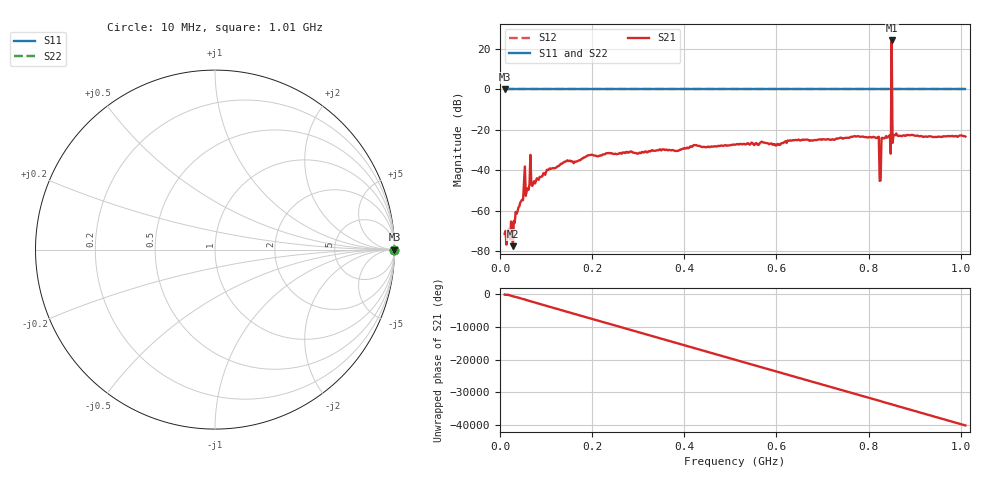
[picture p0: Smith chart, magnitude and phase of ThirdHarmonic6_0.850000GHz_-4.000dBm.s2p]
! 8/16/2025 4:08:01 AM
! C:\ANRITSUVNA\TEMP\TEMP.S2P
! CHANNEL.1
! TR.MEASUREMENT
! RAW.DATA
! RF.CORRECTION.OFF
! AVERAGING.OFF
! IF.BANDWIDTH: 5KHZ
! SWEEPTYPE:  FREQ.SWEEP(Linear)
! Reference Plane Port Info
! PORT:  PORT1  PORT2
! DISTANCE:  0  m  0  m
! TIME:  0  s  0  s
! PHASE.OFFSET:  0  deg.  0  deg.
! LOSS:  0  dB  0  dB
! REF.LOSS:  0  dB  0  dB
! REF.FREQ:  0  Hz  0  Hz
! Power Info
! POWER:  -20  dBm  -20  dBm
! EFF.POWER:  -20  dBm  -20  dBm
! SOURCE.ATTEN:  0  dB  0  dB
! TEST.ATTEN:  0  dB  0  dB
# GHZ S RI R 50.0
! FREQ.GHZ  S11RE  S11IM  S21RE  S21IM  S12RE  S12IM  S22RE  S22IM
!; PortSelection: Port_12
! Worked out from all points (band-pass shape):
!   501 points, 10 MHz to 1.01 GHz, reference 50 ohm
!   highest |S21| = 24.09 dB at 850 MHz (marker M1); lowest = -77.4 dB at 28 MHz (marker M2)
!   |S21| within 3 dB of the highest: 849.8926 MHz to 850.1186 MHz (225.9 kHz wide, 0.0266 % of centre)
!   lowest |S11| = 0.0 dB at 10 MHz (marker M3)
!   |S11| at or under -10 dB: nowhere
!   |S22| runs from 0.0 to 0.0 dB; largest |S21 - S12| = 17
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0.01  1 0  0.000107 -0.00025  1 0  1 0
0.028  1 0  -1.79e-05 0.000133  1 0  1 0
0.046  1 0  -0.00152 0.000835  1 0  1 0
0.05  1 0  0.00183 -0.000114  1 0  1 0
0.056  1 0  -0.000714 0.00223  1 0  1 0
0.06  1 0  0.0016 -0.00321  1 0  1 0
0.064  1 0  -0.00364 0.00264  1 0  1 0
0.072  1 0  -0.00477 0.000325  1 0  1 0
0.178  1 0  -0.0189 -0.0049  1 0  1 0
0.344  1 0  0.0307 -0.00534  1 0  1 0
0.51  1 0  -0.041 0.0121  1 0  1 0
0.678  1 0  -0.0187 -0.0506  1 0  1 0
0.818  1 0  0.0616 0.0145  1 0  1 0
0.822  1 0  -0.0575 -0.035  1 0  1 0
0.828  1 0  0.0538 -0.0321  1 0  1 0
0.832  1 0  -0.0608 0.0104  1 0  1 0
0.844  1 0  0.0432 0.0555  1 0  1 0
0.846  1 0  0.0653 -0.0352  1 0  1 0
0.85  1 0  -9.438 -12.94  1 0  1 0
0.854  1 0  0.0741 0.00811  1 0  1 0
0.856  1 0  0.0182 -0.072  1 0  1 0
1.01  1 0  -0.0629 -0.0264  1 0  1 0
